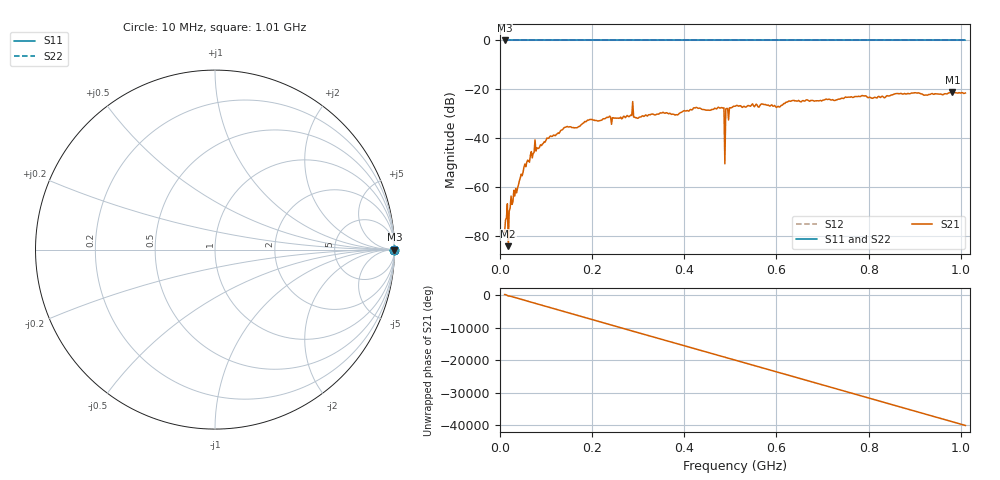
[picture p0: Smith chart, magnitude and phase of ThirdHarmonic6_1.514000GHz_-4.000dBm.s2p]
! 8/16/2025 5:50:24 PM
! C:\ANRITSUVNA\TEMP\TEMP.S2P
! CHANNEL.1
! TR.MEASUREMENT
! RAW.DATA
! RF.CORRECTION.OFF
! AVERAGING.OFF
! IF.BANDWIDTH: 5KHZ
! SWEEPTYPE:  FREQ.SWEEP(Linear)
! Reference Plane Port Info
! PORT:  PORT1  PORT2
! DISTANCE:  0  m  0  m
! TIME:  0  s  0  s
! PHASE.OFFSET:  0  deg.  0  deg.
! LOSS:  0  dB  0  dB
! REF.LOSS:  0  dB  0  dB
! REF.FREQ:  0  Hz  0  Hz
! Power Info
! POWER:  -20  dBm  -20  dBm
! EFF.POWER:  -20  dBm  -20  dBm
! SOURCE.ATTEN:  0  dB  0  dB
! TEST.ATTEN:  0  dB  0  dB
# GHZ S RI R 50.0
! FREQ.GHZ  S11RE  S11IM  S21RE  S21IM  S12RE  S12IM  S22RE  S22IM
!; PortSelection: Port_12
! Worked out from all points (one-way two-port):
!   501 points, 10 MHz to 1.01 GHz, reference 50 ohm
!   highest |S21| = -21.11 dB at 982 MHz (marker M1); lowest = -84.0 dB at 18 MHz (marker M2)
!   lowest |S11| = 0.0 dB at 10 MHz (marker M3)
!   |S11| at or under -10 dB: nowhere
!   |S22| runs from 0.0 to 0.0 dB; largest |S21 - S12| = 1.1
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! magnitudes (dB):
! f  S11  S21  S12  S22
! 10 MHz  0.0  -78.2  0.0  0.0
! 18 MHz  0.0  -84.0  0.0  0.0
! 22 MHz  0.0  -68.5  0.0  0.0
! 26 MHz  0.0  -66.9  0.0  0.0
! 50 MHz  0.0  -53.9  0.0  0.0
! 72 MHz  0.0  -46.2  0.0  0.0
! 142 MHz  0.0  -35.4  0.0  0.0
! 178 MHz  0.0  -34.1  0.0  0.0
! 284 MHz  0.0  -30.4  0.0  0.0
! 296 MHz  0.0  -31.5  0.0  0.0
! 344 MHz  0.0  -30.1  0.0  0.0
! 482 MHz  0.0  -27.5  0.0  0.0
! 484 MHz  0.0  -27.6  0.0  0.0
! 492 MHz  0.0  -27.8  0.0  0.0
! 494 MHz  0.0  -27.8  0.0  0.0
! 510 MHz  0.0  -26.9  0.0  0.0
! 604 MHz  0.0  -26.9  0.0  0.0
! 630 MHz  0.0  -24.8  0.0  0.0
! 678 MHz  0.0  -24.5  0.0  0.0
! 844 MHz  0.0  -22.7  0.0  0.0
! 982 MHz  0.0  -21.1  0.0  0.0
! 1.01 GHz  0.0  -21.5  0.0  0.0
